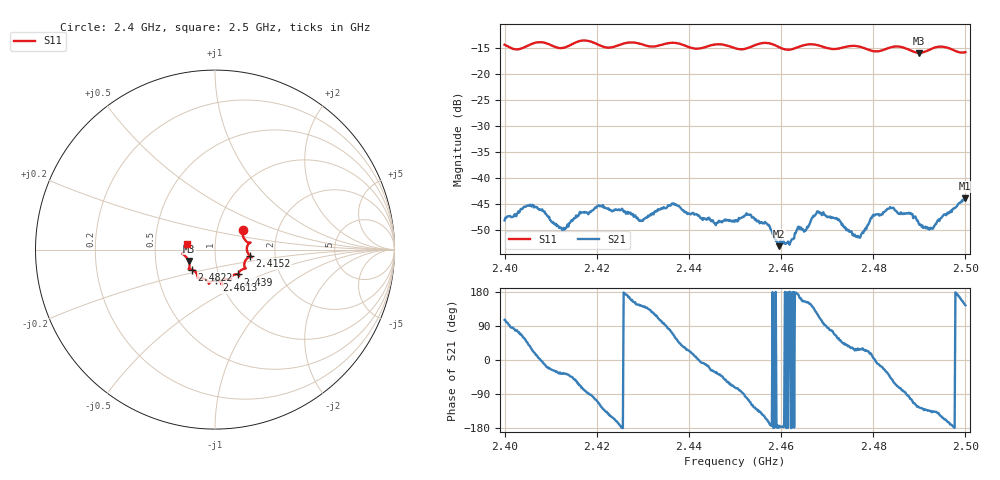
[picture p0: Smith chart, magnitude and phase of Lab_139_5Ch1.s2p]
# Hz S RI R 50
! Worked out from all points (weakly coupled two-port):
!   601 points, 2.4 GHz to 2.5 GHz, reference 50 ohm
!   highest |S21| = -43.93 dB at 2.4998 GHz (marker M1); lowest = -53.1 dB at 2.4595 GHz (marker M2)
!   lowest |S11| = -15.9 dB at 2.49 GHz (marker M3), VSWR 1.38, Z = 37 - j4.83 ohm
!   |S11| at or under -10 dB: start of sweep to end of sweep
!   S12 and S22 are empty: the file has one direction only
!   S11 on the Smith chart (normalised r, x): 2.4 GHz: 1.33, +0.31; 2.4152 GHz: 1.48, -0.11; 2.439 GHz: 1.24, -0.36; 2.4613 GHz: 0.96, -0.34; 2.4822 GHz: 0.76, -0.17; 2.5 GHz: 0.72, +0.05
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2.4e9  0.1553 0.1114  -0.00108 0.00376  0 0  0 0
2.405667e9  0.189 0.0377  0.00459 0.00292  0 0  0 0
2.4125e9  0.1778 -0.00142  0.00255 -0.00187  0 0  0 0
2.415167e9  0.1952 -0.036  0.00254 -0.00322  0 0  0 0
2.416667e9  0.205 -0.0421  0.00132 -0.00447  0 0  0 0
2.420833e9  0.1807 -0.0475  -0.00283 -0.0046  0 0  0 0
2.4295e9  0.1633 -0.1065  -0.00315 0.00226  0 0  0 0
2.433333e9  0.1323 -0.1324  -0.00173 0.00472  0 0  0 0
2.439e9  0.1276 -0.1387  0.00391 0.00264  0 0  0 0
2.45e9  0.0689 -0.1633  0.00118 -0.00374  0 0  0 0
2.453e9  0.0389 -0.1748  -0.00125 -0.00428  0 0  0 0
2.4595e9  0.0301 -0.1792  -0.00221 -5.38e-05  0 0  0 0
2.461333e9  0.00753 -0.1711  -0.00238 6.47e-05  0 0  0 0
2.466667e9  -0.0338 -0.1903  -0.00329 0.00246  0 0  0 0
2.471667e9  -0.0619 -0.1623  0.00165 0.00377  0 0  0 0
2.476667e9  -0.0952 -0.1584  0.00239 0.0014  0 0  0 0
2.482167e9  -0.1282 -0.1116  0.00434 -0.00183  0 0  0 0
2.483333e9  -0.1395 -0.1101  0.00399 -0.00314  0 0  0 0
2.49e9  -0.1464 -0.0637  -0.00207 -0.00289  0 0  0 0
2.492667e9  -0.1721 -0.0304  -0.0024 -0.00221  0 0  0 0
2.499833e9  -0.1583 0.0309  -0.00535 0.00343  0 0  0 0
2.5e9  -0.1585 0.0338  -0.005 0.00358  0 0  0 0
